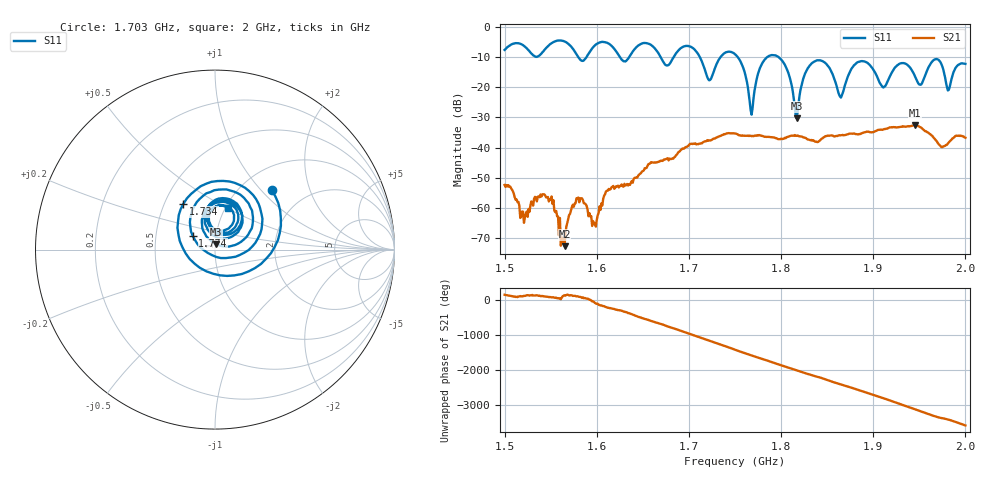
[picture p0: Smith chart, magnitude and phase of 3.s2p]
! NanoVNA-App by SYSJOINT et al v1.1.209 (+OD18)
! Date: 2026-01-21 14:45:59
! Start: 1,5GHz Stop: 2GHz Points: 501
! S-Parameter data: F S11 S21 S12 S22
# Hz S RI R 50
!  Frequency  S11_Real  S11_Imag  S21_Real  S21_Imag  S12_Real  S12_Imag  S22_Real  S22_Imag
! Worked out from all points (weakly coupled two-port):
!   501 points, 1.5 GHz to 2 GHz, reference 50 ohm
!   highest |S21| = -32.52 dB at 1.945 GHz (marker M1); lowest = -72.7 dB at 1.565 GHz (marker M2)
!   lowest |S11| = -30.3 dB at 1.817 GHz (marker M3), VSWR 1.06, Z = 50.5 + j3.04 ohm
!   |S11| at or under -10 dB: 1.712 GHz to 1.734 GHz (22.6 MHz wide, 1.31 % of centre); 1.753 GHz to 1.785 GHz (31.98 MHz wide, 1.81 % of centre); 1.797 GHz to end of sweep (the widest 3 of 6)
!   S12 and S22 are empty: the file has one direction only
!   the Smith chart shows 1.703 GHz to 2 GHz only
!   S11 on the Smith chart (normalised r, x): 1.703 GHz: 1.36, +1.15; 1.734 GHz: 0.62, +0.35; 1.774 GHz: 0.77, +0.12; 2 GHz: 1.02, +0.51
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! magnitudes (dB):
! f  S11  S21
! 1.5 GHz  -7.6  -52.4
! 1.519 GHz  -5.9  -61.2
! 1.551 GHz  -5.4  -56.2
! 1.565 GHz  -4.8  -72.7
! 1.584 GHz  -11.3  -56.8
! 1.597 GHz  -6.4  -65.3
! 1.612 GHz  -5.4  -54.3
! 1.667 GHz  -8.8  -44.7
! 1.703 GHz  -6.8  -38.7
! 1.722 GHz  -17.7  -37.6
! 1.734 GHz  -10.2  -36.2
! 1.75 GHz  -9.1  -35.3
! 1.767 GHz  -27.7  -36.1
! 1.774 GHz  -16.7  -35.9
! 1.798 GHz  -10.2  -37.2
! 1.817 GHz  -30.3  -36.1
! 1.834 GHz  -11.9  -37.7
! 1.864 GHz  -23.1  -36.0
! 1.885 GHz  -11.6  -35.5
! 1.917 GHz  -17.1  -33.4
! 1.945 GHz  -16.2  -32.5
! 2 GHz  -12.3  -36.7
